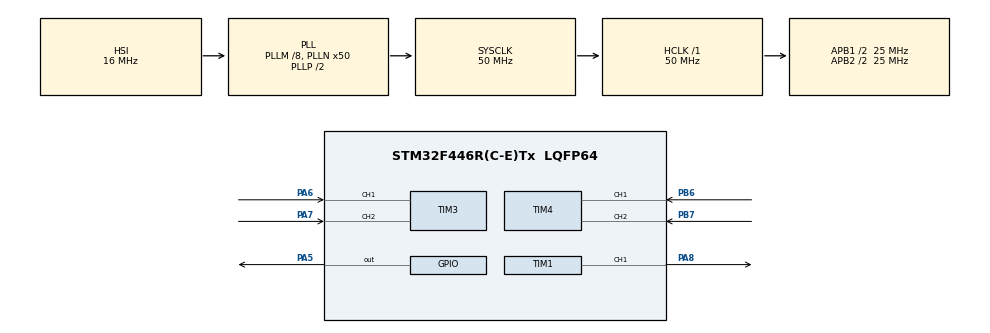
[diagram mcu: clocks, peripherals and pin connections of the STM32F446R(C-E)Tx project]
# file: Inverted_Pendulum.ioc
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Mcu.Family=STM32F4
Mcu.Name=STM32F446R(C-E)Tx
Mcu.Package=LQFP64
NVIC.PriorityGroup=NVIC_PRIORITYGROUP_0
PA5.Signal=GPIO_Output
PA6.GPIO_PuPd=GPIO_PULLUP
PA6.Signal=S_TIM3_CH1
PA7.GPIO_PuPd=GPIO_PULLUP
PA7.Signal=S_TIM3_CH2
PA8.GPIO_PuPd=GPIO_NOPULL
PA8.Signal=S_TIM1_CH1
PB6.Signal=S_TIM4_CH1
PB7.Signal=S_TIM4_CH2
ProjectManager.HeapSize=0x200
ProjectManager.StackSize=0x400
ProjectManager.TargetToolchain=STM32CubeIDE
RCC.AHBFreq_Value=50000000
RCC.APB1CLKDivider=RCC_HCLK_DIV2
RCC.APB1Freq_Value=25000000
RCC.APB1TimFreq_Value=50000000
RCC.APB2CLKDivider=RCC_HCLK_DIV2
RCC.APB2Freq_Value=25000000
RCC.APB2TimFreq_Value=50000000
RCC.CortexFreq_Value=50000000
RCC.FLatency-AdvancedSettings=FLASH_LATENCY_1
RCC.HCLKFreq_Value=50000000
RCC.HSE_VALUE=8000000
RCC.HSI_VALUE=16000000
RCC.LSE_VALUE=32768
RCC.PLLM=8
RCC.PLLN=50
RCC.SYSCLKFreq_VALUE=50000000
RCC.SYSCLKSource=RCC_SYSCLKSOURCE_PLLCLK
RCC.USBFreq_Value=50000000
RCC.VCOOutputFreq_Value=100000000
SH.S_TIM1_CH1.0=TIM1_CH1,PWM Generation1 CH1
SH.S_TIM3_CH1.0=TIM3_CH1,Encoder_Interface
SH.S_TIM3_CH2.0=TIM3_CH2,Encoder_Interface
SH.S_TIM4_CH1.0=TIM4_CH1,Encoder_Interface
SH.S_TIM4_CH2.0=TIM4_CH2,Encoder_Interface
TIM1.Channel-PWM\ Generation1\ CH1=TIM_CHANNEL_1
TIM1.Period=19999
TIM1.Prescaler=49
TIM3.EncoderMode=TIM_ENCODERMODE_TI12
TIM3.IC1Filter=5
TIM3.IC2Filter=5
TIM3.IC2Polarity=TIM_ICPOLARITY_RISING
TIM4.EncoderMode=TIM_ENCODERMODE_TI12
TIM4.IC1Filter=5
VP_TIM1_VS_ClockSourceINT.Mode=Internal
board=NUCLEO-F446RE

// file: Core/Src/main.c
/* USER CODE BEGIN Header */
/**
  ******************************************************************************
  * @file           : main.c
  * @brief          : Main program body
  ******************************************************************************
  * @attention
  *
  * Copyright (c) 2026 STMicroelectronics.
  * All rights reserved.
  *
  * This software is licensed under terms that can be found in the LICENSE file
  * in the root directory of this software component.
  * If no LICENSE file comes with this software, it is provided AS-IS.
  *
  ******************************************************************************
  */
/* USER CODE END Header */
#include "main.h"

/* USER CODE BEGIN Includes */
#include "pendulum.h"
#include "as5600.h"
#include <math.h>
/* USER CODE END Includes */

/* USER CODE BEGIN PD */
float pend_vel;
float pend_pos;
/* USER CODE END PD */

TIM_HandleTypeDef htim1;
TIM_HandleTypeDef htim3;
TIM_HandleTypeDef htim4;

/* USER CODE BEGIN PV */
float counter,count;
/* USER CODE END PV */

void SystemClock_Config(void);
static void MX_GPIO_Init(void);
static void MX_TIM1_Init(void);
static void MX_TIM3_Init(void);
static void MX_TIM4_Init(void);
/* USER CODE BEGIN PFP */
int16_t ams_val = 0;
float pendulum_angle = 0;
int16_t enc_val = 0;
/* USER CODE END PFP */

int main(void)
{

  /* MCU Configuration--------------------------------------------------------*/

  /* Reset of all peripherals, Initializes the Flash interface and the Systick. */
  HAL_Init();

  /* Configure the system clock */
  SystemClock_Config();

  /* Initialize all configured peripherals */
  MX_GPIO_Init();
  MX_TIM1_Init();
  MX_TIM3_Init();
  MX_TIM4_Init();
  /* USER CODE BEGIN 2 */
  HAL_TIM_Encoder_Start(&htim3,TIM_CHANNEL_ALL);
  HAL_TIM_Encoder_Start(&htim4,TIM_CHANNEL_ALL);

  HAL_TIM_PWM_Start(&htim1,TIM_CHANNEL_1);
  //HAL_TIM_PWM_Start(&htim1,TIM_CHANNEL_2);
  motor_setPwm(0);
  //__HAL_TIM_SET_COMPARE(&htim1,TIM_CHANNEL_1, 1500);
  HAL_Delay(2000);
  //__HAL_TIM_SET_COMPARE(&htim1,TIM_CHANNEL_1, 1650);
  //motor_setPwm(-50);
  /* USER CODE END 2 */

  /* Infinite loop */
  /* USER CODE BEGIN WHILE */
  while (1)
  {
		//__HAL_TIM_SET_COMPARE(&htim1,TIM_CHANNEL_1, 60000);
		//__HAL_TIM_SET_COMPARE(&htim1,TIM_CHANNEL_2, 0);
	    /*ams_val = AS5600_ReadAngle()*180/PI;
	    pendulum_angle = GetPendulumPosition()*180/PI;

		enc_val = TIM3->CNT;*/
	  enc_val = TIM4->CNT;
	  pendulum_angle = GetPendulumPosition()*180/PI;
	  //motor_setPwm(50);
//	  pend_pos = pendulum.position*180/PI;
//	  pend_vel = pendulum.velocity*180/PI;
//	  ams_val = (int16_t)__HAL_TIM_GET_COUNTER(&htim2);
	  //motor_setPwm(50);

//__HAL_TIM_SET_COMPARE(&htim1,TIM_CHANNEL_1, 30000);
	    //enc_val = TIM3->CNT;
	    //HAL_Delay(100);
    /* USER CODE END WHILE */

  }
}

void SystemClock_Config(void)
{
  RCC_OscInitTypeDef RCC_OscInitStruct = {0};
  RCC_ClkInitTypeDef RCC_ClkInitStruct = {0};

  /** Configure the main internal regulator output voltage
  */
  __HAL_RCC_PWR_CLK_ENABLE();
  __HAL_PWR_VOLTAGESCALING_CONFIG(PWR_REGULATOR_VOLTAGE_SCALE3);

  /** Initializes the RCC Oscillators according to the specified parameters
  * in the RCC_OscInitTypeDef structure.
  */
  RCC_OscInitStruct.OscillatorType = RCC_OSCILLATORTYPE_HSI;
  RCC_OscInitStruct.HSIState = RCC_HSI_ON;
  RCC_OscInitStruct.HSICalibrationValue = RCC_HSICALIBRATION_DEFAULT;
  RCC_OscInitStruct.PLL.PLLState = RCC_PLL_ON;
  RCC_OscInitStruct.PLL.PLLSource = RCC_PLLSOURCE_HSI;
  RCC_OscInitStruct.PLL.PLLM = 8;
  RCC_OscInitStruct.PLL.PLLN = 50;
  RCC_OscInitStruct.PLL.PLLP = RCC_PLLP_DIV2;
  RCC_OscInitStruct.PLL.PLLQ = 2;
  RCC_OscInitStruct.PLL.PLLR = 2;
  if (HAL_RCC_OscConfig(&RCC_OscInitStruct) != HAL_OK)
  {
    Error_Handler();
  }

  /** Initializes the CPU, AHB and APB buses clocks
  */
  RCC_ClkInitStruct.ClockType = RCC_CLOCKTYPE_HCLK|RCC_CLOCKTYPE_SYSCLK
                              |RCC_CLOCKTYPE_PCLK1|RCC_CLOCKTYPE_PCLK2;
  RCC_ClkInitStruct.SYSCLKSource = RCC_SYSCLKSOURCE_PLLCLK;
  RCC_ClkInitStruct.AHBCLKDivider = RCC_SYSCLK_DIV1;
  RCC_ClkInitStruct.APB1CLKDivider = RCC_HCLK_DIV2;
  RCC_ClkInitStruct.APB2CLKDivider = RCC_HCLK_DIV2;

  if (HAL_RCC_ClockConfig(&RCC_ClkInitStruct, FLASH_LATENCY_1) != HAL_OK)
  {
    Error_Handler();
  }
}

static void MX_TIM1_Init(void)
{

  TIM_ClockConfigTypeDef sClockSourceConfig = {0};
  TIM_MasterConfigTypeDef sMasterConfig = {0};
  TIM_OC_InitTypeDef sConfigOC = {0};
  TIM_BreakDeadTimeConfigTypeDef sBreakDeadTimeConfig = {0};

  htim1.Instance = TIM1;
  htim1.Init.Prescaler = 49;
  htim1.Init.CounterMode = TIM_COUNTERMODE_UP;
  htim1.Init.Period = 19999;
  htim1.Init.ClockDivision = TIM_CLOCKDIVISION_DIV1;
  htim1.Init.RepetitionCounter = 0;
  htim1.Init.AutoReloadPreload = TIM_AUTORELOAD_PRELOAD_DISABLE;
  if (HAL_TIM_Base_Init(&htim1) != HAL_OK)
  {
    Error_Handler();
  }
  sClockSourceConfig.ClockSource = TIM_CLOCKSOURCE_INTERNAL;
  if (HAL_TIM_ConfigClockSource(&htim1, &sClockSourceConfig) != HAL_OK)
  {
    Error_Handler();
  }
  if (HAL_TIM_PWM_Init(&htim1) != HAL_OK)
  {
    Error_Handler();
  }
  sMasterConfig.MasterOutputTrigger = TIM_TRGO_RESET;
  sMasterConfig.MasterSlaveMode = TIM_MASTERSLAVEMODE_DISABLE;
  if (HAL_TIMEx_MasterConfigSynchronization(&htim1, &sMasterConfig) != HAL_OK)
  {
    Error_Handler();
  }
  sConfigOC.OCMode = TIM_OCMODE_PWM1;
  sConfigOC.Pulse = 0;
  sConfigOC.OCPolarity = TIM_OCPOLARITY_HIGH;
  sConfigOC.OCNPolarity = TIM_OCNPOLARITY_HIGH;
  sConfigOC.OCFastMode = TIM_OCFAST_DISABLE;
  sConfigOC.OCIdleState = TIM_OCIDLESTATE_RESET;
  sConfigOC.OCNIdleState = TIM_OCNIDLESTATE_RESET;
  if (HAL_TIM_PWM_ConfigChannel(&htim1, &sConfigOC, TIM_CHANNEL_1) != HAL_OK)
  {
    Error_Handler();
  }
  sBreakDeadTimeConfig.OffStateRunMode = TIM_OSSR_DISABLE;
  sBreakDeadTimeConfig.OffStateIDLEMode = TIM_OSSI_DISABLE;
  sBreakDeadTimeConfig.LockLevel = TIM_LOCKLEVEL_OFF;
  sBreakDeadTimeConfig.DeadTime = 0;
  sBreakDeadTimeConfig.BreakState = TIM_BREAK_DISABLE;
  sBreakDeadTimeConfig.BreakPolarity = TIM_BREAKPOLARITY_HIGH;
  sBreakDeadTimeConfig.AutomaticOutput = TIM_AUTOMATICOUTPUT_DISABLE;
  if (HAL_TIMEx_ConfigBreakDeadTime(&htim1, &sBreakDeadTimeConfig) != HAL_OK)
  {
    Error_Handler();
  }
  HAL_TIM_MspPostInit(&htim1);

}

static void MX_TIM3_Init(void)
{

  TIM_Encoder_InitTypeDef sConfig = {0};
  TIM_MasterConfigTypeDef sMasterConfig = {0};

  htim3.Instance = TIM3;
  htim3.Init.Prescaler = 0;
  htim3.Init.CounterMode = TIM_COUNTERMODE_UP;
  htim3.Init.Period = 65535;
  htim3.Init.ClockDivision = TIM_CLOCKDIVISION_DIV1;
  htim3.Init.AutoReloadPreload = TIM_AUTORELOAD_PRELOAD_DISABLE;
  sConfig.EncoderMode = TIM_ENCODERMODE_TI12;
  sConfig.IC1Polarity = TIM_ICPOLARITY_RISING;
  sConfig.IC1Selection = TIM_ICSELECTION_DIRECTTI;
  sConfig.IC1Prescaler = TIM_ICPSC_DIV1;
  sConfig.IC1Filter = 5;
  sConfig.IC2Polarity = TIM_ICPOLARITY_RISING;
  sConfig.IC2Selection = TIM_ICSELECTION_DIRECTTI;
  sConfig.IC2Prescaler = TIM_ICPSC_DIV1;
  sConfig.IC2Filter = 5;
  if (HAL_TIM_Encoder_Init(&htim3, &sConfig) != HAL_OK)
  {
    Error_Handler();
  }
  sMasterConfig.MasterOutputTrigger = TIM_TRGO_RESET;
  sMasterConfig.MasterSlaveMode = TIM_MASTERSLAVEMODE_DISABLE;
  if (HAL_TIMEx_MasterConfigSynchronization(&htim3, &sMasterConfig) != HAL_OK)
  {
    Error_Handler();
  }

}

static void MX_TIM4_Init(void)
{

  TIM_Encoder_InitTypeDef sConfig = {0};
  TIM_MasterConfigTypeDef sMasterConfig = {0};

  htim4.Instance = TIM4;
  htim4.Init.Prescaler = 0;
  htim4.Init.CounterMode = TIM_COUNTERMODE_UP;
  htim4.Init.Period = 65535;
  htim4.Init.ClockDivision = TIM_CLOCKDIVISION_DIV1;
  htim4.Init.AutoReloadPreload = TIM_AUTORELOAD_PRELOAD_DISABLE;
  sConfig.EncoderMode = TIM_ENCODERMODE_TI12;
  sConfig.IC1Polarity = TIM_ICPOLARITY_RISING;
  sConfig.IC1Selection = TIM_ICSELECTION_DIRECTTI;
  sConfig.IC1Prescaler = TIM_ICPSC_DIV1;
  sConfig.IC1Filter = 5;
  sConfig.IC2Polarity = TIM_ICPOLARITY_RISING;
  sConfig.IC2Selection = TIM_ICSELECTION_DIRECTTI;
  sConfig.IC2Prescaler = TIM_ICPSC_DIV1;
  sConfig.IC2Filter = 0;
  if (HAL_TIM_Encoder_Init(&htim4, &sConfig) != HAL_OK)
  {
    Error_Handler();
  }
  sMasterConfig.MasterOutputTrigger = TIM_TRGO_RESET;
  sMasterConfig.MasterSlaveMode = TIM_MASTERSLAVEMODE_DISABLE;
  if (HAL_TIMEx_MasterConfigSynchronization(&htim4, &sMasterConfig) != HAL_OK)
  {
    Error_Handler();
  }

}

static void MX_GPIO_Init(void)
{
  GPIO_InitTypeDef GPIO_InitStruct = {0};

  /* GPIO Ports Clock Enable */
  __HAL_RCC_GPIOA_CLK_ENABLE();
  __HAL_RCC_GPIOB_CLK_ENABLE();

  /*Configure GPIO pin Output Level */
  HAL_GPIO_WritePin(GPIOA, GPIO_PIN_5, GPIO_PIN_RESET);

  /*Configure GPIO pin : PA5 */
  GPIO_InitStruct.Pin = GPIO_PIN_5;
  GPIO_InitStruct.Mode = GPIO_MODE_OUTPUT_PP;
  GPIO_InitStruct.Pull = GPIO_NOPULL;
  GPIO_InitStruct.Speed = GPIO_SPEED_FREQ_LOW;
  HAL_GPIO_Init(GPIOA, &GPIO_InitStruct);

}

void Error_Handler(void)
{
  __disable_irq();
  while (1)
  {
  }
}
